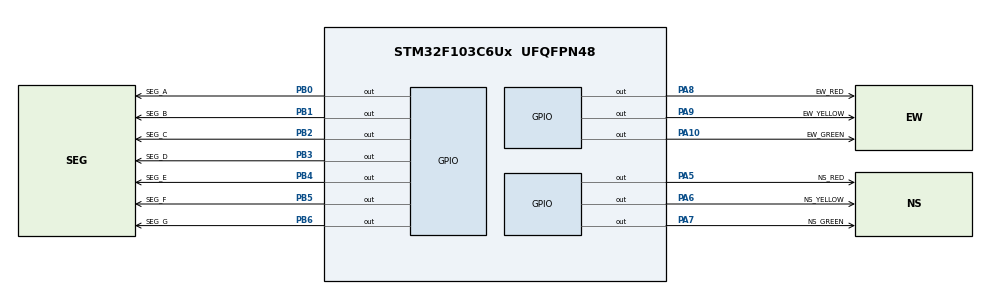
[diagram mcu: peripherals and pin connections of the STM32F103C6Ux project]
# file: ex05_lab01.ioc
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Mcu.Family=STM32F1
Mcu.Name=STM32F103C6Ux
Mcu.Package=UFQFPN48
NVIC.PriorityGroup=NVIC_PRIORITYGROUP_4
PA10.GPIO_Label=EW_GREEN
PA10.PinState=GPIO_PIN_SET
PA10.Signal=GPIO_Output
PA13.Mode=Serial_Wire
PA13.Signal=SYS_JTMS-SWDIO
PA14.Mode=Serial_Wire
PA14.Signal=SYS_JTCK-SWCLK
PA5.GPIO_Label=NS_RED
PA5.PinState=GPIO_PIN_SET
PA5.Signal=GPIO_Output
PA6.GPIO_Label=NS_YELLOW
PA6.GPIO_Speed=GPIO_SPEED_FREQ_LOW
PA6.PinState=GPIO_PIN_SET
PA6.Signal=GPIO_Output
PA7.GPIO_Label=NS_GREEN
PA7.PinState=GPIO_PIN_SET
PA7.Signal=GPIO_Output
PA8.GPIO_Label=EW_RED
PA8.PinState=GPIO_PIN_SET
PA8.Signal=GPIO_Output
PA9.GPIO_Label=EW_YELLOW
PA9.PinState=GPIO_PIN_SET
PA9.Signal=GPIO_Output
PB0.GPIO_Label=SEG_A
PB0.PinState=GPIO_PIN_SET
PB0.Signal=GPIO_Output
PB1.GPIO_Label=SEG_B
PB1.PinState=GPIO_PIN_SET
PB1.Signal=GPIO_Output
PB2.GPIO_Label=SEG_C
PB2.PinState=GPIO_PIN_SET
PB2.Signal=GPIO_Output
PB3.GPIO_Label=SEG_D
PB3.PinState=GPIO_PIN_SET
PB3.Signal=GPIO_Output
PB4.GPIO_Label=SEG_E
PB4.PinState=GPIO_PIN_SET
PB4.Signal=GPIO_Output
PB5.GPIO_Label=SEG_F
PB5.PinState=GPIO_PIN_SET
PB5.Signal=GPIO_Output
PB6.GPIO_Label=SEG_G
PB6.PinState=GPIO_PIN_SET
PB6.Signal=GPIO_Output
ProjectManager.HeapSize=0x200
ProjectManager.StackSize=0x400
ProjectManager.TargetToolchain=CMake
RCC.APB1Freq_Value=8000000
RCC.APB2Freq_Value=8000000
board=custom

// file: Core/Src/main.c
/* USER CODE BEGIN Header */
/**
  ******************************************************************************
  * @file           : main.c
  * @brief          : Main program body
  ******************************************************************************
  * @attention
  *
  * Copyright (c) 2026 STMicroelectronics.
  * All rights reserved.
  *
  * This software is licensed under terms that can be found in the LICENSE file
  * in the root directory of this software component.
  * If no LICENSE file comes with this software, it is provided AS-IS.
  *
  ******************************************************************************
  */
/* USER CODE END Header */
#include "main.h"

void SystemClock_Config(void);
static void MX_GPIO_Init(void);
/* USER CODE BEGIN PFP */
void display7SEG(int num);
void countdown(int seconds);
/* USER CODE END PFP */

/* USER CODE BEGIN 0 */

void display7SEG(int num)
{
    /*
     * Turn all seven segments OFF first.
     *
     * The display is common-anode:
     * GPIO_PIN_SET   = segment OFF
     * GPIO_PIN_RESET = segment ON
     */
    HAL_GPIO_WritePin(
        GPIOB,
        SEG_A_Pin | SEG_B_Pin | SEG_C_Pin |
        SEG_D_Pin | SEG_E_Pin | SEG_F_Pin |
        SEG_G_Pin,
        GPIO_PIN_SET
    );

    switch (num)
    {
        case 0:
            HAL_GPIO_WritePin(
                GPIOB,
                SEG_A_Pin | SEG_B_Pin | SEG_C_Pin |
                SEG_D_Pin | SEG_E_Pin | SEG_F_Pin,
                GPIO_PIN_RESET
            );
            break;

        case 1:
            HAL_GPIO_WritePin(
                GPIOB,
                SEG_B_Pin | SEG_C_Pin,
                GPIO_PIN_RESET
            );
            break;

        case 2:
            HAL_GPIO_WritePin(
                GPIOB,
                SEG_A_Pin | SEG_B_Pin | SEG_D_Pin |
                SEG_E_Pin | SEG_G_Pin,
                GPIO_PIN_RESET
            );
            break;

        case 3:
            HAL_GPIO_WritePin(
                GPIOB,
                SEG_A_Pin | SEG_B_Pin | SEG_C_Pin |
                SEG_D_Pin | SEG_G_Pin,
                GPIO_PIN_RESET
            );
            break;

        case 4:
            HAL_GPIO_WritePin(
                GPIOB,
                SEG_B_Pin | SEG_C_Pin |
                SEG_F_Pin | SEG_G_Pin,
                GPIO_PIN_RESET
            );
            break;

        case 5:
            HAL_GPIO_WritePin(
                GPIOB,
                SEG_A_Pin | SEG_C_Pin | SEG_D_Pin |
                SEG_F_Pin | SEG_G_Pin,
                GPIO_PIN_RESET
            );
            break;

        case 6:
            HAL_GPIO_WritePin(
                GPIOB,
                SEG_A_Pin | SEG_C_Pin | SEG_D_Pin |
                SEG_E_Pin | SEG_F_Pin | SEG_G_Pin,
                GPIO_PIN_RESET
            );
            break;

        case 7:
            HAL_GPIO_WritePin(
                GPIOB,
                SEG_A_Pin | SEG_B_Pin | SEG_C_Pin,
                GPIO_PIN_RESET
            );
            break;

        case 8:
            HAL_GPIO_WritePin(
                GPIOB,
                SEG_A_Pin | SEG_B_Pin | SEG_C_Pin |
                SEG_D_Pin | SEG_E_Pin | SEG_F_Pin |
                SEG_G_Pin,
                GPIO_PIN_RESET
            );
            break;

        case 9:
            HAL_GPIO_WritePin(
                GPIOB,
                SEG_A_Pin | SEG_B_Pin | SEG_C_Pin |
                SEG_D_Pin | SEG_F_Pin | SEG_G_Pin,
                GPIO_PIN_RESET
            );
            break;

        default:
            /*
             * Invalid number:
             * all segments remain OFF.
             */
            break;
    }
}

void countdown(int seconds)
{
    while (seconds > 0)
    {
        /* Display the remaining time */
        display7SEG(seconds);

        /* Keep this value visible for one second */
        HAL_Delay(1000);

        /* Reduce the remaining time */
        seconds--;
    }
}

/* USER CODE END 0 */

int main(void)
{

  /* MCU Configuration--------------------------------------------------------*/

  /* Reset of all peripherals, Initializes the Flash interface and the Systick. */
  HAL_Init();

  /* Configure the system clock */
  SystemClock_Config();

  /* Initialize all configured peripherals */
  MX_GPIO_Init();

  /* Infinite loop */
  /* USER CODE BEGIN WHILE */
  while (1){
        /*
         * State 1:
         * North-South GREEN
         * East-West RED
         */
        HAL_GPIO_WritePin(GPIOA, NS_RED_Pin,
                                          GPIO_PIN_SET);
        HAL_GPIO_WritePin(GPIOA, NS_YELLOW_Pin,
                                          GPIO_PIN_SET);
        HAL_GPIO_WritePin(GPIOA, NS_GREEN_Pin,
                                          GPIO_PIN_RESET);

        HAL_GPIO_WritePin(GPIOA, EW_RED_Pin,
                                          GPIO_PIN_RESET);
        HAL_GPIO_WritePin(GPIOA, EW_YELLOW_Pin,
                                          GPIO_PIN_SET);
        HAL_GPIO_WritePin(GPIOA, EW_GREEN_Pin,
                                          GPIO_PIN_SET);

        countdown(3);

        /*
         * State 2:
         * North-South YELLOW
         * East-West RED
         */
        HAL_GPIO_WritePin(GPIOA, NS_RED_Pin,
                                          GPIO_PIN_SET);
        HAL_GPIO_WritePin(GPIOA, NS_YELLOW_Pin,
                                          GPIO_PIN_RESET);
        HAL_GPIO_WritePin(GPIOA, NS_GREEN_Pin,
                                          GPIO_PIN_SET);

        HAL_GPIO_WritePin(GPIOA, EW_RED_Pin,
                                          GPIO_PIN_RESET);
        HAL_GPIO_WritePin(GPIOA, EW_YELLOW_Pin,
                                          GPIO_PIN_SET);
        HAL_GPIO_WritePin(GPIOA, EW_GREEN_Pin,
                                          GPIO_PIN_SET);

        countdown(2);

        /*
         * State 3:
         * North-South RED
         * East-West GREEN
         */
        HAL_GPIO_WritePin(GPIOA, NS_RED_Pin,
                                          GPIO_PIN_RESET);
        HAL_GPIO_WritePin(GPIOA, NS_YELLOW_Pin,
                                          GPIO_PIN_SET);
        HAL_GPIO_WritePin(GPIOA, NS_GREEN_Pin,
                                          GPIO_PIN_SET);

        HAL_GPIO_WritePin(GPIOA, EW_RED_Pin,
                                          GPIO_PIN_SET);
        HAL_GPIO_WritePin(GPIOA, EW_YELLOW_Pin,
                                          GPIO_PIN_SET);
        HAL_GPIO_WritePin(GPIOA, EW_GREEN_Pin,
                                          GPIO_PIN_RESET);

        countdown(3);

        /*
         * State 4:
         * North-South RED
         * East-West YELLOW
         */
        HAL_GPIO_WritePin(GPIOA, NS_RED_Pin,
                                          GPIO_PIN_RESET);
        HAL_GPIO_WritePin(GPIOA, NS_YELLOW_Pin,
                                          GPIO_PIN_SET);
        HAL_GPIO_WritePin(GPIOA, NS_GREEN_Pin,
                                          GPIO_PIN_SET);

        HAL_GPIO_WritePin(GPIOA, EW_RED_Pin,
                                          GPIO_PIN_SET);
        HAL_GPIO_WritePin(GPIOA, EW_YELLOW_Pin,
                                          GPIO_PIN_RESET);
        HAL_GPIO_WritePin(GPIOA, EW_GREEN_Pin,
                                          GPIO_PIN_SET);

        countdown(2);
}
  /* USER CODE END 3 */
}

void SystemClock_Config(void)
{
  RCC_OscInitTypeDef RCC_OscInitStruct = {0};
  RCC_ClkInitTypeDef RCC_ClkInitStruct = {0};

  /** Initializes the RCC Oscillators according to the specified parameters
  * in the RCC_OscInitTypeDef structure.
  */
  RCC_OscInitStruct.OscillatorType = RCC_OSCILLATORTYPE_HSI;
  RCC_OscInitStruct.HSIState = RCC_HSI_ON;
  RCC_OscInitStruct.HSICalibrationValue = RCC_HSICALIBRATION_DEFAULT;
  RCC_OscInitStruct.PLL.PLLState = RCC_PLL_NONE;
  if (HAL_RCC_OscConfig(&RCC_OscInitStruct) != HAL_OK)
  {
    Error_Handler();
  }

  /** Initializes the CPU, AHB and APB buses clocks
  */
  RCC_ClkInitStruct.ClockType = RCC_CLOCKTYPE_HCLK|RCC_CLOCKTYPE_SYSCLK
                              |RCC_CLOCKTYPE_PCLK1|RCC_CLOCKTYPE_PCLK2;
  RCC_ClkInitStruct.SYSCLKSource = RCC_SYSCLKSOURCE_HSI;
  RCC_ClkInitStruct.AHBCLKDivider = RCC_SYSCLK_DIV1;
  RCC_ClkInitStruct.APB1CLKDivider = RCC_HCLK_DIV1;
  RCC_ClkInitStruct.APB2CLKDivider = RCC_HCLK_DIV1;

  if (HAL_RCC_ClockConfig(&RCC_ClkInitStruct, FLASH_LATENCY_0) != HAL_OK)
  {
    Error_Handler();
  }
}

static void MX_GPIO_Init(void)
{
  GPIO_InitTypeDef GPIO_InitStruct = {0};

  /* GPIO Ports Clock Enable */
  __HAL_RCC_GPIOA_CLK_ENABLE();
  __HAL_RCC_GPIOB_CLK_ENABLE();

  /*Configure GPIO pin Output Level */
  HAL_GPIO_WritePin(GPIOA, NS_RED_Pin|NS_YELLOW_Pin|NS_GREEN_Pin|EW_RED_Pin
                          |EW_YELLOW_Pin|EW_GREEN_Pin, GPIO_PIN_SET);

  /*Configure GPIO pin Output Level */
  HAL_GPIO_WritePin(GPIOB, SEG_A_Pin|SEG_B_Pin|SEG_C_Pin|SEG_D_Pin
                          |SEG_E_Pin|SEG_F_Pin|SEG_G_Pin, GPIO_PIN_SET);

  /*Configure GPIO pins : NS_RED_Pin NS_YELLOW_Pin NS_GREEN_Pin EW_RED_Pin
                           EW_YELLOW_Pin EW_GREEN_Pin */
  GPIO_InitStruct.Pin = NS_RED_Pin|NS_YELLOW_Pin|NS_GREEN_Pin|EW_RED_Pin
                          |EW_YELLOW_Pin|EW_GREEN_Pin;
  GPIO_InitStruct.Mode = GPIO_MODE_OUTPUT_PP;
  GPIO_InitStruct.Pull = GPIO_NOPULL;
  GPIO_InitStruct.Speed = GPIO_SPEED_FREQ_LOW;
  HAL_GPIO_Init(GPIOA, &GPIO_InitStruct);

  /*Configure GPIO pins : SEG_A_Pin SEG_B_Pin SEG_C_Pin SEG_D_Pin
                           SEG_E_Pin SEG_F_Pin SEG_G_Pin */
  GPIO_InitStruct.Pin = SEG_A_Pin|SEG_B_Pin|SEG_C_Pin|SEG_D_Pin
                          |SEG_E_Pin|SEG_F_Pin|SEG_G_Pin;
  GPIO_InitStruct.Mode = GPIO_MODE_OUTPUT_PP;
  GPIO_InitStruct.Pull = GPIO_NOPULL;
  GPIO_InitStruct.Speed = GPIO_SPEED_FREQ_LOW;
  HAL_GPIO_Init(GPIOB, &GPIO_InitStruct);

}

void Error_Handler(void)
{
  __disable_irq();
  while (1)
  {
  }
}
